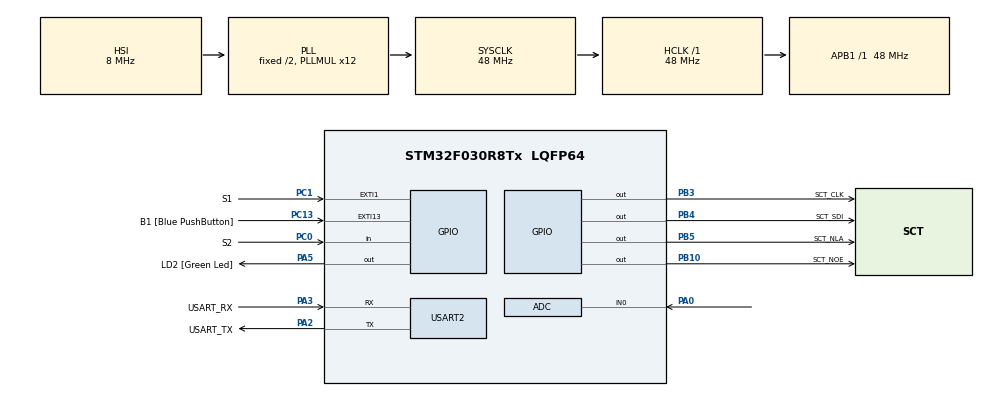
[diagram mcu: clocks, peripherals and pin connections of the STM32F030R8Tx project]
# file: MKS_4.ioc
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ADC.ContinuousConvMode=ENABLE
ADC.Overrun=ADC_OVR_DATA_OVERWRITTEN
ADC.SamplingTime=ADC_SAMPLETIME_239CYCLES_5
Mcu.Family=STM32F0
Mcu.Name=STM32F030R8Tx
Mcu.Package=LQFP64
NVIC.ADC1_IRQn=true\:0\:0\:false\:false\:true\:true\:true\:true
PA0.Mode=IN0
PA0.Signal=ADC_IN0
PA13.GPIO_Label=TMS
PA13.Mode=Serial_Wire
PA13.Signal=SYS_SWDIO
PA14.GPIO_Label=TCK
PA14.Mode=Serial_Wire
PA14.Signal=SYS_SWCLK
PA2.GPIO_Label=USART_TX
PA2.GPIO_Mode=GPIO_MODE_AF_PP
PA2.GPIO_PuPd=GPIO_NOPULL
PA2.GPIO_Speed=GPIO_SPEED_FREQ_LOW
PA2.Mode=Asynchronous
PA2.Signal=USART2_TX
PA3.GPIO_Label=USART_RX
PA3.GPIO_Mode=GPIO_MODE_AF_PP
PA3.GPIO_PuPd=GPIO_NOPULL
PA3.GPIO_Speed=GPIO_SPEED_FREQ_LOW
PA3.Mode=Asynchronous
PA3.Signal=USART2_RX
PA5.GPIO_Label=LD2 [Green Led]
PA5.GPIO_Mode=GPIO_MODE_OUTPUT_PP
PA5.GPIO_PuPd=GPIO_NOPULL
PA5.GPIO_Speed=GPIO_SPEED_FREQ_LOW
PA5.Signal=GPIO_Output
PB10.GPIO_Label=SCT_NOE
PB10.Signal=GPIO_Output
PB3.GPIO_Label=SCT_CLK
PB3.Signal=GPIO_Output
PB4.GPIO_Label=SCT_SDI
PB4.Signal=GPIO_Output
PB5.GPIO_Label=SCT_NLA
PB5.Signal=GPIO_Output
PC0.GPIO_Label=S2
PC0.GPIO_PuPd=GPIO_PULLUP
PC0.Signal=GPIO_Input
PC1.GPIO_Label=S1
PC1.GPIO_PuPd=GPIO_PULLUP
PC1.Signal=GPXTI1
PC13.GPIO_Label=B1 [Blue PushButton]
PC13.GPIO_ModeDefaultEXTI=GPIO_MODE_IT_FALLING
PC13.Signal=GPXTI13
PC14-OSC32_IN.Mode=LSE-External-Oscillator
PC14-OSC32_IN.Signal=RCC_OSC32_IN
PC15-OSC32_OUT.Mode=LSE-External-Oscillator
PC15-OSC32_OUT.Signal=RCC_OSC32_OUT
PF0-OSC_IN.Mode=HSE-External-Clock-Source
PF0-OSC_IN.Signal=RCC_OSC_IN
PF1-OSC_OUT.Signal=RCC_OSC_OUT
ProjectManager.HeapSize=0x200
ProjectManager.StackSize=0x400
ProjectManager.TargetToolchain=STM32CubeIDE
RCC.AHBFreq_Value=48000000
RCC.APB1Freq_Value=48000000
RCC.APB1TimFreq_Value=48000000
RCC.HCLKFreq_Value=48000000
RCC.PLLMUL=RCC_PLL_MUL12
RCC.SYSCLKFreq_VALUE=48000000
RCC.SYSCLKSource=RCC_SYSCLKSOURCE_PLLCLK
USART2.VirtualMode-Asynchronous=VM_ASYNC
VP_ADC_TempSens_Input.Mode=IN-TempSens
VP_ADC_Vref_Input.Mode=IN-Vrefint
board=NUCLEO-F030R8

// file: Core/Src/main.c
/* USER CODE BEGIN Header */
/**
  ******************************************************************************
  * @file           : main.c
  * @brief          : Main program body
  ******************************************************************************
  * @attention
  *
  * Copyright (c) 2024 STMicroelectronics.
  * All rights reserved.
  *
  * This software is licensed under terms that can be found in the LICENSE file
  * in the root directory of this software component.
  * If no LICENSE file comes with this software, it is provided AS-IS.
  *
  ******************************************************************************
  */
/* USER CODE END Header */
#include "main.h"

/* USER CODE BEGIN Includes */
#include "sct.h"
/* USER CODE END Includes */

/* USER CODE BEGIN PD */
/* Temperature sensor calibration value address */
#define TEMP110_CAL_ADDR ((uint16_t*) ((uint32_t) 0x1FFFF7C2))
#define TEMP30_CAL_ADDR ((uint16_t*) ((uint32_t) 0x1FFFF7B8))

/* Internal voltage reference calibration value address */
#define VREFINT_CAL_ADDR ((uint16_t*) ((uint32_t) 0x1FFFF7BA))

/* USER CODE END PD */

ADC_HandleTypeDef hadc;

UART_HandleTypeDef huart2;

void SystemClock_Config(void);
static void MX_GPIO_Init(void);
static void MX_USART2_UART_Init(void);
static void MX_ADC_Init(void);

/* USER CODE BEGIN 0 */
static volatile uint32_t raw_pot;
static volatile uint32_t raw_temp;
static volatile uint32_t raw_volt;

void HAL_ADC_ConvCpltCallback(ADC_HandleTypeDef* hadc)
{
	static uint8_t channel;
	if (channel == 0)
	{
		static uint32_t avg_pot;
		raw_pot = avg_pot >> 12;
		avg_pot -= raw_pot;
		avg_pot += HAL_ADC_GetValue(hadc);
	} else if (channel == 1)
	{
		raw_temp = HAL_ADC_GetValue(hadc);
	} else if (channel == 2)
	{
		raw_volt = HAL_ADC_GetValue(hadc);
	}

	if (__HAL_ADC_GET_FLAG(hadc, ADC_FLAG_EOS)) channel = 0;
	else channel++;
}

/* USER CODE END 0 */

int main(void)
{

  /* MCU Configuration--------------------------------------------------------*/

  /* Reset of all peripherals, Initializes the Flash interface and the Systick. */
  HAL_Init();

  /* Configure the system clock */
  SystemClock_Config();

  /* Initialize all configured peripherals */
  MX_GPIO_Init();
  MX_USART2_UART_Init();
  MX_ADC_Init();
  /* USER CODE BEGIN 2 */
  sct_init();
  sct_value(0,0);

  HAL_ADCEx_Calibration_Start(&hadc);
  HAL_ADC_Start_IT(&hadc);
  /* USER CODE END 2 */

  /* Infinite loop */
  /* USER CODE BEGIN WHILE */
  while (1)
  {
	  static uint32_t period;
	  static uint32_t display_time = 1000;

	  if (LL_GPIO_IsInputPinSet(S1_GPIO_Port, S1_Pin) == 0)
	  {
		  sct_value(330 * (*VREFINT_CAL_ADDR) / raw_volt, (raw_pot * 9) / 4095);
		  period = HAL_GetTick();
	  } else if (LL_GPIO_IsInputPinSet(S2_GPIO_Port, S2_Pin) == 0)
	  {
		  int32_t temperature = (raw_temp - (int32_t)(*TEMP30_CAL_ADDR));
		  temperature = temperature * (int32_t)(110 - 30);
		  temperature = temperature / (int32_t)(*TEMP110_CAL_ADDR - *TEMP30_CAL_ADDR);
		  temperature = temperature + 30;
		  sct_value(temperature, (raw_pot * 9) / 4095);
		  period = HAL_GetTick();
	  } else if (HAL_GetTick() > period+display_time)
	  {
		  sct_value((raw_pot * 501) / 4095, (raw_pot * 9) / 4095);
	  }
	  HAL_Delay(50);
    /* USER CODE END WHILE */

  }
}

void SystemClock_Config(void)
{
  RCC_OscInitTypeDef RCC_OscInitStruct = {0};
  RCC_ClkInitTypeDef RCC_ClkInitStruct = {0};

  /** Initializes the RCC Oscillators according to the specified parameters
  * in the RCC_OscInitTypeDef structure.
  */
  RCC_OscInitStruct.OscillatorType = RCC_OSCILLATORTYPE_HSI|RCC_OSCILLATORTYPE_HSI14;
  RCC_OscInitStruct.HSIState = RCC_HSI_ON;
  RCC_OscInitStruct.HSI14State = RCC_HSI14_ON;
  RCC_OscInitStruct.HSICalibrationValue = RCC_HSICALIBRATION_DEFAULT;
  RCC_OscInitStruct.HSI14CalibrationValue = 16;
  RCC_OscInitStruct.PLL.PLLState = RCC_PLL_ON;
  RCC_OscInitStruct.PLL.PLLSource = RCC_PLLSOURCE_HSI;
  RCC_OscInitStruct.PLL.PLLMUL = RCC_PLL_MUL12;
  RCC_OscInitStruct.PLL.PREDIV = RCC_PREDIV_DIV1;
  if (HAL_RCC_OscConfig(&RCC_OscInitStruct) != HAL_OK)
  {
    Error_Handler();
  }

  /** Initializes the CPU, AHB and APB buses clocks
  */
  RCC_ClkInitStruct.ClockType = RCC_CLOCKTYPE_HCLK|RCC_CLOCKTYPE_SYSCLK
                              |RCC_CLOCKTYPE_PCLK1;
  RCC_ClkInitStruct.SYSCLKSource = RCC_SYSCLKSOURCE_PLLCLK;
  RCC_ClkInitStruct.AHBCLKDivider = RCC_SYSCLK_DIV1;
  RCC_ClkInitStruct.APB1CLKDivider = RCC_HCLK_DIV1;

  if (HAL_RCC_ClockConfig(&RCC_ClkInitStruct, FLASH_LATENCY_1) != HAL_OK)
  {
    Error_Handler();
  }
}

static void MX_ADC_Init(void)
{

  ADC_ChannelConfTypeDef sConfig = {0};

  /** Configure the global features of the ADC (Clock, Resolution, Data Alignment and number of conversion)
  */
  hadc.Instance = ADC1;
  hadc.Init.ClockPrescaler = ADC_CLOCK_ASYNC_DIV1;
  hadc.Init.Resolution = ADC_RESOLUTION_12B;
  hadc.Init.DataAlign = ADC_DATAALIGN_RIGHT;
  hadc.Init.ScanConvMode = ADC_SCAN_DIRECTION_FORWARD;
  hadc.Init.EOCSelection = ADC_EOC_SINGLE_CONV;
  hadc.Init.LowPowerAutoWait = DISABLE;
  hadc.Init.LowPowerAutoPowerOff = DISABLE;
  hadc.Init.ContinuousConvMode = ENABLE;
  hadc.Init.DiscontinuousConvMode = DISABLE;
  hadc.Init.ExternalTrigConv = ADC_SOFTWARE_START;
  hadc.Init.ExternalTrigConvEdge = ADC_EXTERNALTRIGCONVEDGE_NONE;
  hadc.Init.DMAContinuousRequests = DISABLE;
  hadc.Init.Overrun = ADC_OVR_DATA_OVERWRITTEN;
  if (HAL_ADC_Init(&hadc) != HAL_OK)
  {
    Error_Handler();
  }

  /** Configure for the selected ADC regular channel to be converted.
  */
  sConfig.Channel = ADC_CHANNEL_0;
  sConfig.Rank = ADC_RANK_CHANNEL_NUMBER;
  sConfig.SamplingTime = ADC_SAMPLETIME_239CYCLES_5;
  if (HAL_ADC_ConfigChannel(&hadc, &sConfig) != HAL_OK)
  {
    Error_Handler();
  }

  /** Configure for the selected ADC regular channel to be converted.
  */
  sConfig.Channel = ADC_CHANNEL_TEMPSENSOR;
  if (HAL_ADC_ConfigChannel(&hadc, &sConfig) != HAL_OK)
  {
    Error_Handler();
  }

  /** Configure for the selected ADC regular channel to be converted.
  */
  sConfig.Channel = ADC_CHANNEL_VREFINT;
  if (HAL_ADC_ConfigChannel(&hadc, &sConfig) != HAL_OK)
  {
    Error_Handler();
  }

}

static void MX_USART2_UART_Init(void)
{

  huart2.Instance = USART2;
  huart2.Init.BaudRate = 38400;
  huart2.Init.WordLength = UART_WORDLENGTH_8B;
  huart2.Init.StopBits = UART_STOPBITS_1;
  huart2.Init.Parity = UART_PARITY_NONE;
  huart2.Init.Mode = UART_MODE_TX_RX;
  huart2.Init.HwFlowCtl = UART_HWCONTROL_NONE;
  huart2.Init.OverSampling = UART_OVERSAMPLING_16;
  huart2.Init.OneBitSampling = UART_ONE_BIT_SAMPLE_DISABLE;
  huart2.AdvancedInit.AdvFeatureInit = UART_ADVFEATURE_NO_INIT;
  if (HAL_UART_Init(&huart2) != HAL_OK)
  {
    Error_Handler();
  }

}

static void MX_GPIO_Init(void)
{
  LL_EXTI_InitTypeDef EXTI_InitStruct = {0};
  LL_GPIO_InitTypeDef GPIO_InitStruct = {0};

  /* GPIO Ports Clock Enable */
  LL_AHB1_GRP1_EnableClock(LL_AHB1_GRP1_PERIPH_GPIOC);
  LL_AHB1_GRP1_EnableClock(LL_AHB1_GRP1_PERIPH_GPIOF);
  LL_AHB1_GRP1_EnableClock(LL_AHB1_GRP1_PERIPH_GPIOA);
  LL_AHB1_GRP1_EnableClock(LL_AHB1_GRP1_PERIPH_GPIOB);

  /**/
  LL_GPIO_ResetOutputPin(LD2_GPIO_Port, LD2_Pin);

  /**/
  LL_GPIO_ResetOutputPin(SCT_NOE_GPIO_Port, SCT_NOE_Pin);

  /**/
  LL_GPIO_ResetOutputPin(SCT_CLK_GPIO_Port, SCT_CLK_Pin);

  /**/
  LL_GPIO_ResetOutputPin(SCT_SDI_GPIO_Port, SCT_SDI_Pin);

  /**/
  LL_GPIO_ResetOutputPin(SCT_NLA_GPIO_Port, SCT_NLA_Pin);

  /**/
  LL_SYSCFG_SetEXTISource(LL_SYSCFG_EXTI_PORTC, LL_SYSCFG_EXTI_LINE13);

  /**/
  LL_SYSCFG_SetEXTISource(LL_SYSCFG_EXTI_PORTC, LL_SYSCFG_EXTI_LINE1);

  /**/
  LL_GPIO_SetPinPull(B1_GPIO_Port, B1_Pin, LL_GPIO_PULL_NO);

  /**/
  LL_GPIO_SetPinPull(S1_GPIO_Port, S1_Pin, LL_GPIO_PULL_UP);

  /**/
  LL_GPIO_SetPinMode(B1_GPIO_Port, B1_Pin, LL_GPIO_MODE_INPUT);

  /**/
  LL_GPIO_SetPinMode(S1_GPIO_Port, S1_Pin, LL_GPIO_MODE_INPUT);

  /**/
  EXTI_InitStruct.Line_0_31 = LL_EXTI_LINE_13;
  EXTI_InitStruct.LineCommand = ENABLE;
  EXTI_InitStruct.Mode = LL_EXTI_MODE_IT;
  EXTI_InitStruct.Trigger = LL_EXTI_TRIGGER_FALLING;
  LL_EXTI_Init(&EXTI_InitStruct);

  /**/
  EXTI_InitStruct.Line_0_31 = LL_EXTI_LINE_1;
  EXTI_InitStruct.LineCommand = ENABLE;
  EXTI_InitStruct.Mode = LL_EXTI_MODE_IT;
  EXTI_InitStruct.Trigger = LL_EXTI_TRIGGER_RISING;
  LL_EXTI_Init(&EXTI_InitStruct);

  /**/
  GPIO_InitStruct.Pin = S2_Pin;
  GPIO_InitStruct.Mode = LL_GPIO_MODE_INPUT;
  GPIO_InitStruct.Pull = LL_GPIO_PULL_UP;
  LL_GPIO_Init(S2_GPIO_Port, &GPIO_InitStruct);

  /**/
  GPIO_InitStruct.Pin = LD2_Pin;
  GPIO_InitStruct.Mode = LL_GPIO_MODE_OUTPUT;
  GPIO_InitStruct.Speed = LL_GPIO_SPEED_FREQ_LOW;
  GPIO_InitStruct.OutputType = LL_GPIO_OUTPUT_PUSHPULL;
  GPIO_InitStruct.Pull = LL_GPIO_PULL_NO;
  LL_GPIO_Init(LD2_GPIO_Port, &GPIO_InitStruct);

  /**/
  GPIO_InitStruct.Pin = SCT_NOE_Pin;
  GPIO_InitStruct.Mode = LL_GPIO_MODE_OUTPUT;
  GPIO_InitStruct.Speed = LL_GPIO_SPEED_FREQ_LOW;
  GPIO_InitStruct.OutputType = LL_GPIO_OUTPUT_PUSHPULL;
  GPIO_InitStruct.Pull = LL_GPIO_PULL_NO;
  LL_GPIO_Init(SCT_NOE_GPIO_Port, &GPIO_InitStruct);

  /**/
  GPIO_InitStruct.Pin = SCT_CLK_Pin;
  GPIO_InitStruct.Mode = LL_GPIO_MODE_OUTPUT;
  GPIO_InitStruct.Speed = LL_GPIO_SPEED_FREQ_LOW;
  GPIO_InitStruct.OutputType = LL_GPIO_OUTPUT_PUSHPULL;
  GPIO_InitStruct.Pull = LL_GPIO_PULL_NO;
  LL_GPIO_Init(SCT_CLK_GPIO_Port, &GPIO_InitStruct);

  /**/
  GPIO_InitStruct.Pin = SCT_SDI_Pin;
  GPIO_InitStruct.Mode = LL_GPIO_MODE_OUTPUT;
  GPIO_InitStruct.Speed = LL_GPIO_SPEED_FREQ_LOW;
  GPIO_InitStruct.OutputType = LL_GPIO_OUTPUT_PUSHPULL;
  GPIO_InitStruct.Pull = LL_GPIO_PULL_NO;
  LL_GPIO_Init(SCT_SDI_GPIO_Port, &GPIO_InitStruct);

  /**/
  GPIO_InitStruct.Pin = SCT_NLA_Pin;
  GPIO_InitStruct.Mode = LL_GPIO_MODE_OUTPUT;
  GPIO_InitStruct.Speed = LL_GPIO_SPEED_FREQ_LOW;
  GPIO_InitStruct.OutputType = LL_GPIO_OUTPUT_PUSHPULL;
  GPIO_InitStruct.Pull = LL_GPIO_PULL_NO;
  LL_GPIO_Init(SCT_NLA_GPIO_Port, &GPIO_InitStruct);

}

void Error_Handler(void)
{
  __disable_irq();
  while (1)
  {
  }
}
